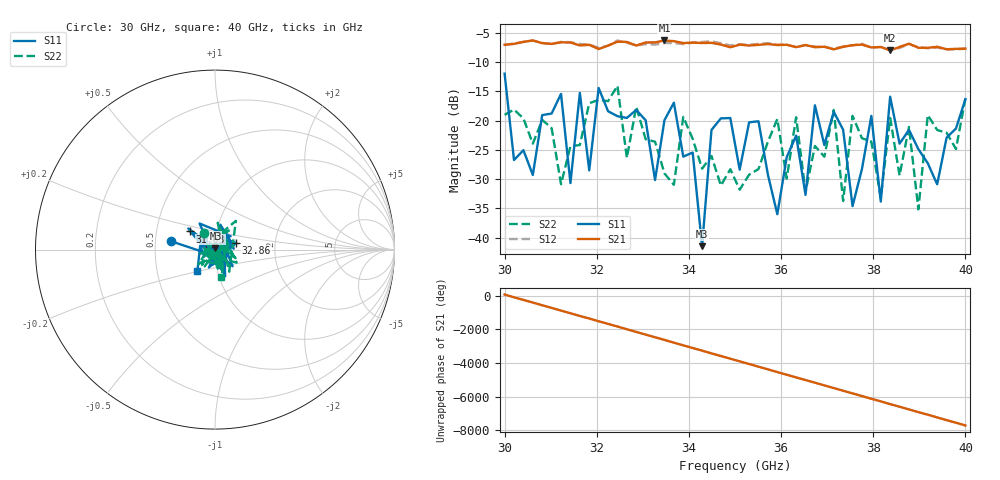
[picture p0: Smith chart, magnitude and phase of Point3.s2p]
! 10/2/2026 3:13:18 PM
! C:\ANRITSUVNA\TEMP\TEMP.S2P
! CHANNEL.1
! TR.MEASUREMENT
! RAW.DATA
# HZ S RI R 50.0
! FREQ.HZ  S11RE  S11IM  S21RE  S21IM  S12RE  S12IM  S22RE  S22IM
!; PortSelection: Port_12
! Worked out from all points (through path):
!   50 points, 30 GHz to 40 GHz, reference 50 ohm
!   highest |S21| = -6.32 dB at 33.47 GHz (marker M1); lowest = -8.0 dB at 38.37 GHz (marker M2)
!   lowest |S11| = -41.4 dB at 34.29 GHz (marker M3), VSWR 1.02, Z = 50.3 + j0.811 ohm
!   |S11| at or under -10 dB: start of sweep to end of sweep
!   |S22| runs from -35.2 to -14.1 dB; largest |S21 - S12| = 0.54
!   S11 on the Smith chart (normalised r, x): 30 GHz: 0.60, +0.06; 31.63 GHz: 0.74, +0.15; 32.86 GHz: 1.26, +0.10; 40 GHz: 0.80, -0.19
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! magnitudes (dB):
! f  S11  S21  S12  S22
! 30 GHz  -12.0  -7.1  -7.2  -19.0
! 30.61 GHz  -29.3  -6.3  -6.3  -23.9
! 31.22 GHz  -15.4  -6.6  -6.6  -30.9
! 31.43 GHz  -30.7  -6.7  -6.6  -24.4
! 31.63 GHz  -15.3  -7.2  -6.9  -24.2
! 31.84 GHz  -28.5  -7.1  -7.0  -17.0
! 32.86 GHz  -18.2  -7.2  -7.2  -17.6
! 33.47 GHz  -19.9  -6.3  -6.8  -29.0
! 34.29 GHz  -41.4  -6.8  -6.6  -28.2
! 34.49 GHz  -21.6  -6.7  -6.5  -26.0
! 35.1 GHz  -28.4  -7.0  -7.0  -31.8
! 36.33 GHz  -22.6  -7.5  -7.4  -19.4
! 36.53 GHz  -32.7  -7.1  -7.1  -32.2
! 36.73 GHz  -17.4  -7.5  -7.3  -24.3
! 37.14 GHz  -18.5  -7.8  -7.7  -18.2
! 37.35 GHz  -21.6  -7.4  -7.3  -33.7
! 37.55 GHz  -34.6  -7.1  -7.2  -19.2
! 37.96 GHz  -19.2  -7.5  -7.5  -23.6
! 38.16 GHz  -33.8  -7.4  -7.4  -33.2
! 38.37 GHz  -15.9  -8.0  -8.0  -19.6
! 38.98 GHz  -24.9  -7.6  -7.5  -35.2
! 40 GHz  -16.4  -7.7  -7.7  -16.2
